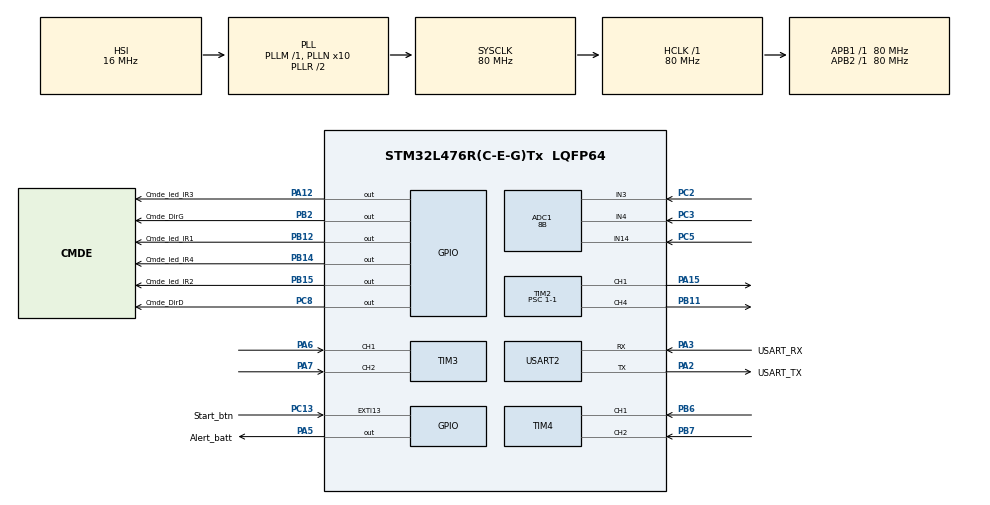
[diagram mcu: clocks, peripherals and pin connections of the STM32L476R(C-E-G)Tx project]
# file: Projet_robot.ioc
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ADC1.AWD1HighThreshold=255
ADC1.AWD1ITMode=ENABLE
ADC1.AWD1LowThreshold=232
ADC1.Channel-6\#ChannelRegularConversion=ADC_CHANNEL_3
ADC1.Channel-7\#ChannelRegularConversion=ADC_CHANNEL_4
ADC1.Channel-8\#ChannelRegularConversion=ADC_CHANNEL_14
ADC1.EnableAnalogWatchDog1=true
ADC1.NbrOfConversion=3
ADC1.NbrOfConversionFlag=1
ADC1.OffsetNumber-6\#ChannelRegularConversion=ADC_OFFSET_NONE
ADC1.OffsetNumber-7\#ChannelRegularConversion=ADC_OFFSET_NONE
ADC1.OffsetNumber-8\#ChannelRegularConversion=ADC_OFFSET_NONE
ADC1.Rank-6\#ChannelRegularConversion=1
ADC1.Rank-7\#ChannelRegularConversion=2
ADC1.Rank-8\#ChannelRegularConversion=3
ADC1.Resolution=ADC_RESOLUTION_8B
ADC1.SamplingTime-6\#ChannelRegularConversion=ADC_SAMPLETIME_640CYCLES_5
ADC1.SamplingTime-7\#ChannelRegularConversion=ADC_SAMPLETIME_640CYCLES_5
ADC1.SamplingTime-8\#ChannelRegularConversion=ADC_SAMPLETIME_640CYCLES_5
ADC1.WatchdogChannel=ADC_CHANNEL_3
ADC1.master=1
Dma.ADC1.0.Direction=DMA_PERIPH_TO_MEMORY
Dma.ADC1.0.Instance=DMA1_Channel1
Dma.ADC1.0.MemDataAlignment=DMA_MDATAALIGN_HALFWORD
Dma.ADC1.0.MemInc=DMA_MINC_ENABLE
Dma.ADC1.0.Mode=DMA_NORMAL
Dma.ADC1.0.PeriphDataAlignment=DMA_PDATAALIGN_HALFWORD
Dma.ADC1.0.PeriphInc=DMA_PINC_DISABLE
Dma.ADC1.0.Priority=DMA_PRIORITY_LOW
Dma.Request0=ADC1
Mcu.Family=STM32L4
Mcu.Name=STM32L476R(C-E-G)Tx
Mcu.Package=LQFP64
NVIC.ADC1_2_IRQn=true\:0\:0\:false\:false\:true\:true\:true\:true
NVIC.DMA1_Channel1_IRQn=true\:0\:0\:false\:false\:true\:false\:true\:true
NVIC.EXTI15_10_IRQn=true\:0\:0\:false\:false\:true\:true\:true\:true
NVIC.PriorityGroup=NVIC_PRIORITYGROUP_4
NVIC.TIM2_IRQn=true\:0\:0\:false\:false\:true\:true\:true\:true
NVIC.TIM6_DAC_IRQn=true\:0\:0\:false\:false\:true\:true\:true\:true
NVIC.USART2_IRQn=true\:0\:0\:false\:false\:true\:true\:true\:true
PA12.GPIO_Label=Cmde_led_IR3
PA12.GPIO_PuPd=GPIO_PULLDOWN
PA12.Signal=GPIO_Output
PA13\ (JTMS-SWDIO).GPIO_Label=TMS
PA13\ (JTMS-SWDIO).Mode=Serial_Wire
PA13\ (JTMS-SWDIO).Signal=SYS_JTMS-SWDIO
PA14\ (JTCK-SWCLK).GPIO_Label=TCK
PA14\ (JTCK-SWCLK).Mode=Serial_Wire
PA14\ (JTCK-SWCLK).Signal=SYS_JTCK-SWCLK
PA15\ (JTDI).Signal=S_TIM2_CH1
PA2.GPIO_Label=USART_TX
PA2.GPIO_Mode=GPIO_MODE_AF_PP
PA2.GPIO_PuPd=GPIO_NOPULL
PA2.GPIO_Speed=GPIO_SPEED_FREQ_VERY_HIGH
PA2.Mode=Asynchronous
PA2.Signal=USART2_TX
PA3.GPIO_Label=USART_RX
PA3.GPIO_Mode=GPIO_MODE_AF_PP
PA3.GPIO_PuPd=GPIO_NOPULL
PA3.GPIO_Speed=GPIO_SPEED_FREQ_VERY_HIGH
PA3.Mode=Asynchronous
PA3.Signal=USART2_RX
PA5.GPIO_Label=Alert_batt
PA5.GPIO_ModeDefaultOutputPP=GPIO_MODE_OUTPUT_PP
PA5.GPIO_PuPd=GPIO_PULLDOWN
PA5.GPIO_Speed=GPIO_SPEED_FREQ_LOW
PA5.Signal=GPIO_Output
PA6.Signal=S_TIM3_CH1
PA7.Signal=S_TIM3_CH2
PB1.Signal=ADCx_IN16
PB11.Signal=S_TIM2_CH4
PB12.GPIO_Label=Cmde_led_IR1
PB12.GPIO_PuPd=GPIO_PULLDOWN
PB12.Signal=GPIO_Output
PB14.GPIO_Label=Cmde_led_IR4
PB14.GPIO_PuPd=GPIO_PULLDOWN
PB14.Signal=GPIO_Output
PB15.GPIO_Label=Cmde_led_IR2
PB15.GPIO_PuPd=GPIO_PULLDOWN
PB15.Signal=GPIO_Output
PB2.GPIO_Label=Cmde_DirG
PB2.GPIO_PuPd=GPIO_PULLDOWN
PB2.Signal=GPIO_Output
PB3\ (JTDO-TRACESWO).GPIO_Label=SWO
PB3\ (JTDO-TRACESWO).Signal=SYS_JTDO-SWO
PB6.Signal=S_TIM4_CH1
PB7.Signal=S_TIM4_CH2
PC13.GPIO_Label=Start_btn
PC13.GPIO_PuPd=GPIO_PULLDOWN
PC13.Signal=GPXTI13
PC14-OSC32_IN\ (PC14).Mode=LSE-External-Oscillator
PC14-OSC32_IN\ (PC14).Signal=RCC_OSC32_IN
PC15-OSC32_OUT\ (PC15).Mode=LSE-External-Oscillator
PC15-OSC32_OUT\ (PC15).Signal=RCC_OSC32_OUT
PC2.Signal=ADCx_IN3
PC3.Signal=ADCx_IN4
PC4.Signal=ADCx_IN13
PC5.Signal=ADCx_IN14
PC8.GPIO_Label=Cmde_DirD
PC8.GPIO_PuPd=GPIO_PULLDOWN
PC8.Signal=GPIO_Output
PH0-OSC_IN\ (PH0).Signal=RCC_OSC_IN
PH1-OSC_OUT\ (PH1).Signal=RCC_OSC_OUT
ProjectManager.HeapSize=0x200
ProjectManager.StackSize=0x400
ProjectManager.TargetToolchain=STM32CubeIDE
RCC.ADCFreq_Value=64000000
RCC.AHBFreq_Value=80000000
RCC.APB1Freq_Value=80000000
RCC.APB1TimFreq_Value=80000000
RCC.APB2Freq_Value=80000000
RCC.APB2TimFreq_Value=80000000
RCC.CortexFreq_Value=80000000
RCC.HCLKFreq_Value=80000000
RCC.HSE_VALUE=8000000
RCC.HSI_VALUE=16000000
RCC.MSI_VALUE=4000000
RCC.PLLN=10
RCC.PLLSourceVirtual=RCC_PLLSOURCE_HSI
RCC.PREFETCH_ENABLE=1
RCC.SYSCLKFreq_VALUE=80000000
RCC.SYSCLKSource=RCC_SYSCLKSOURCE_PLLCLK
RCC.USBFreq_Value=64000000
RCC.VCOOutputFreq_Value=160000000
SH.ADCx_IN13.0=ADC1_IN13
SH.ADCx_IN14.0=ADC1_IN14,IN14-Single-Ended
SH.ADCx_IN16.0=ADC1_IN16
SH.ADCx_IN3.0=ADC1_IN3,IN3-Single-Ended
SH.ADCx_IN4.0=ADC1_IN4,IN4-Single-Ended
SH.S_TIM2_CH1.0=TIM2_CH1,PWM Generation1 CH1
SH.S_TIM2_CH4.0=TIM2_CH4,PWM Generation4 CH4
SH.S_TIM3_CH1.0=TIM3_CH1,Encoder_Interface
SH.S_TIM3_CH2.0=TIM3_CH2,Encoder_Interface
SH.S_TIM4_CH1.0=TIM4_CH1,Encoder_Interface
SH.S_TIM4_CH2.0=TIM4_CH2,Encoder_Interface
TIM2.AutoReloadPreload=TIM_AUTORELOAD_PRELOAD_ENABLE
TIM2.Channel-PWM\ Generation1\ CH1=TIM_CHANNEL_1
TIM2.Channel-PWM\ Generation4\ CH4=TIM_CHANNEL_4
TIM2.Period=80000-1
TIM2.Prescaler=1-1
TIM6.AutoReloadPreload=TIM_AUTORELOAD_PRELOAD_ENABLE
TIM6.Period=61538
TIM6.Prescaler=26-1
USART2.VirtualMode-Asynchronous=VM_ASYNC
VP_TIM2_VS_ClockSourceINT.Mode=Internal
VP_TIM6_VS_ClockSourceINT.Mode=Enable_Timer
board=NUCLEO-L476RG

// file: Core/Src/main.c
/* USER CODE BEGIN Header */
/**
  ******************************************************************************
  * @file           : main.c
  * @brief          : Main program body
  ******************************************************************************
  * @attention
  *
  * Copyright (c) 2024 STMicroelectronics.
  * All rights reserved.
  *
  * This software is licensed under terms that can be found in the LICENSE file
  * in the root directory of this software component.
  * If no LICENSE file comes with this software, it is provided AS-IS.
  *
  ******************************************************************************
  */
/* USER CODE END Header */
#include "main.h"

/* USER CODE BEGIN Includes */
#include <stdio.h>
#include <string.h>

/* USER CODE END Includes */

/* USER CODE BEGIN PD */
#define MAX_VBATT 255 //valeur max sur ADC1 resolution de 12bits
#define SEUIL_VBATT 232 //3V

#define PWM 20661 //10 cm/s  //80000 * 0.25

#define PWM_MOTEUR_DROIT  TIM2->CCR4
#define PWM_MOTEUR_GAUCHE TIM2->CCR1

#define SENS_MOTEUR_DROIT_AVANCE 	HAL_GPIO_WritePin(Cmde_DirD_GPIO_Port, Cmde_DirD_Pin, 1)
#define SENS_MOTEUR_GAUCHE_AVANCE 	HAL_GPIO_WritePin(Cmde_DirG_GPIO_Port, Cmde_DirG_Pin, 1)

#define SENS_MOTEUR_DROIT_RECULE 	HAL_GPIO_WritePin(Cmde_DirD_GPIO_Port, Cmde_DirD_Pin, 0)
#define SENS_MOTEUR_GAUCHE_RECULE 	HAL_GPIO_WritePin(Cmde_DirG_GPIO_Port, Cmde_DirG_Pin, 0)

#define DEMARRAGE_MOTEUR_DROIT 	TIM2->CCR4 = PWM
#define DEMARRAGE_MOTEUR_GAUCHE	TIM2->CCR1 = PWM

#define ARRET_MOTEUR_DROIT 		TIM2->CCR4 = 0
#define ARRET_MOTEUR_GAUCHE 	TIM2->CCR1 = 0

// Coefficient asservissement

#define KP 1.5f
#define KI 0.4f
#define KD 0.2f
#define CONSIGNE_D 300
#define CONSIGNE_G 300
#define PWM_MAX 20661
#define PWM_MIN 0

#define SEUIL_IR 200

/* USER CODE END PD */

ADC_HandleTypeDef hadc1;
DMA_HandleTypeDef hdma_adc1;

TIM_HandleTypeDef htim2;
TIM_HandleTypeDef htim3;
TIM_HandleTypeDef htim4;
TIM_HandleTypeDef htim6;

UART_HandleTypeDef huart2;

/* USER CODE BEGIN PV */
volatile uint8_t mesures_IR = 0; //contient les quatres flags de detection des leds IR
volatile uint8_t nb_conv = 0; //nombre de conversions realisees dans le cycle de conversion de l'ADC
volatile uint8_t flag_blanc = 0;
volatile uint8_t mesure = 0;
volatile uint8_t init = 1;
volatile int blancs[] = {0, 0};
volatile int tbl_detection[] = {0, 0};
volatile int seuils_detection[] = {40, -30};
volatile uint8_t start = 0;
volatile unsigned int Vbatt = MAX_VBATT;

typedef enum {ETEINDRE_LEDS, BLANC, ALLUMER_LEDS, MESURES} etat;
volatile etat etat_courant = BLANC;

extern TIM_HandleTypeDef htim1;   // Timer de commande moteur (PWM)

// asservissement

//static float somme_erreurs = 0;
//static float erreur_precedente = 0;

// DMA
#define NB_ADC_CHANNELS 3
#define CH_IR1 0 // led gauche
#define CH_IR2 1 // led droite
#define CH_VBATT 2 // batterie

uint32_t adc_buffer[NB_ADC_CHANNELS];

/* USER CODE END PV */

void SystemClock_Config(void);
static void MX_GPIO_Init(void);
static void MX_DMA_Init(void);
static void MX_USART2_UART_Init(void);
static void MX_TIM2_Init(void);
static void MX_TIM6_Init(void);
static void MX_ADC1_Init(void);
static void MX_TIM3_Init(void);
static void MX_TIM4_Init(void);
/* USER CODE BEGIN PFP */
void correction_trajectoire(void);
//void read_speed(void);
//void asservissement_PID(void);

/* USER CODE END PFP */

int main(void)
{

  /* MCU Configuration--------------------------------------------------------*/

  /* Reset of all peripherals, Initializes the Flash interface and the Systick. */
  HAL_Init();

  /* Configure the system clock */
  SystemClock_Config();

  /* Initialize all configured peripherals */
  MX_GPIO_Init();
  MX_DMA_Init();
  MX_USART2_UART_Init();
  MX_TIM2_Init();
  MX_TIM6_Init();
  MX_ADC1_Init();
  MX_TIM3_Init();
  MX_TIM4_Init();
  /* USER CODE BEGIN 2 */
  HAL_TIM_Base_Start_IT(&htim6); //demarrage scan des leds toutes les 10ms

  HAL_TIM_PWM_Start(&htim2, TIM_CHANNEL_1); //demarrage pwm moteur Gauche
  HAL_TIM_PWM_Start(&htim2, TIM_CHANNEL_4); //demarrage pwm moteur Droit

  HAL_GPIO_WritePin(Cmde_DirD_GPIO_Port, Cmde_DirD_Pin, 1); // avancer ou reculer ?
  HAL_GPIO_WritePin(Cmde_DirG_GPIO_Port, Cmde_DirG_Pin, 1);

  SENS_MOTEUR_DROIT_AVANCE;
  SENS_MOTEUR_GAUCHE_AVANCE;
  ARRET_MOTEUR_DROIT;
  ARRET_MOTEUR_GAUCHE;

  /* USER CODE END 2 */

  /* Infinite loop */
  /* USER CODE BEGIN WHILE */
  while (1)
  {
//	  HAL_GPIO_WritePin(Cmde_led_IR2_GPIO_Port, Cmde_led_IR2_Pin, 1);
//	  while(1);
//	  read_speed();
//	  HAL_Delay(100);

	  while(!start) {
		  // tant que l'on n'appuie pas sur le bouton de demarrage
		  ARRET_MOTEUR_DROIT;
		  ARRET_MOTEUR_GAUCHE;

	  }

	  //affichage batterie en console
//	  char message[30];
//	  sprintf(message, "Tension de la batterie %d\n", Vbatt);
//	  HAL_UART_Transmit(&huart2, (const uint8_t*)message, sizeof(message), HAL_MAX_DELAY);

	  //avancer tout droit
	  SENS_MOTEUR_DROIT_AVANCE;
	  SENS_MOTEUR_GAUCHE_AVANCE;
	  DEMARRAGE_MOTEUR_DROIT;
	  DEMARRAGE_MOTEUR_GAUCHE;

	  if (mesures_IR) {
		  //arret moteurs

		  //correction de trajectoire
		  correction_trajectoire();
		  //HAL_Delay(100);

		  //remise a zéro des flags leds IR
		  mesures_IR = 0;

	  }

//	  HAL_Delay(100);
//	  mesures_IR = 0;

    /* USER CODE END WHILE */

  }
}

void SystemClock_Config(void)
{
  RCC_OscInitTypeDef RCC_OscInitStruct = {0};
  RCC_ClkInitTypeDef RCC_ClkInitStruct = {0};

  /** Configure the main internal regulator output voltage
  */
  if (HAL_PWREx_ControlVoltageScaling(PWR_REGULATOR_VOLTAGE_SCALE1) != HAL_OK)
  {
    Error_Handler();
  }

  /** Initializes the RCC Oscillators according to the specified parameters
  * in the RCC_OscInitTypeDef structure.
  */
  RCC_OscInitStruct.OscillatorType = RCC_OSCILLATORTYPE_HSI;
  RCC_OscInitStruct.HSIState = RCC_HSI_ON;
  RCC_OscInitStruct.HSICalibrationValue = RCC_HSICALIBRATION_DEFAULT;
  RCC_OscInitStruct.PLL.PLLState = RCC_PLL_ON;
  RCC_OscInitStruct.PLL.PLLSource = RCC_PLLSOURCE_HSI;
  RCC_OscInitStruct.PLL.PLLM = 1;
  RCC_OscInitStruct.PLL.PLLN = 10;
  RCC_OscInitStruct.PLL.PLLP = RCC_PLLP_DIV7;
  RCC_OscInitStruct.PLL.PLLQ = RCC_PLLQ_DIV2;
  RCC_OscInitStruct.PLL.PLLR = RCC_PLLR_DIV2;
  if (HAL_RCC_OscConfig(&RCC_OscInitStruct) != HAL_OK)
  {
    Error_Handler();
  }

  /** Initializes the CPU, AHB and APB buses clocks
  */
  RCC_ClkInitStruct.ClockType = RCC_CLOCKTYPE_HCLK|RCC_CLOCKTYPE_SYSCLK
                              |RCC_CLOCKTYPE_PCLK1|RCC_CLOCKTYPE_PCLK2;
  RCC_ClkInitStruct.SYSCLKSource = RCC_SYSCLKSOURCE_PLLCLK;
  RCC_ClkInitStruct.AHBCLKDivider = RCC_SYSCLK_DIV1;
  RCC_ClkInitStruct.APB1CLKDivider = RCC_HCLK_DIV1;
  RCC_ClkInitStruct.APB2CLKDivider = RCC_HCLK_DIV1;

  if (HAL_RCC_ClockConfig(&RCC_ClkInitStruct, FLASH_LATENCY_4) != HAL_OK)
  {
    Error_Handler();
  }
}

static void MX_ADC1_Init(void)
{

  ADC_MultiModeTypeDef multimode = {0};
  ADC_AnalogWDGConfTypeDef AnalogWDGConfig = {0};
  ADC_ChannelConfTypeDef sConfig = {0};

  /** Common config
  */
  hadc1.Instance = ADC1;
  hadc1.Init.ClockPrescaler = ADC_CLOCK_ASYNC_DIV1;
  hadc1.Init.Resolution = ADC_RESOLUTION_8B;
  hadc1.Init.DataAlign = ADC_DATAALIGN_RIGHT;
  hadc1.Init.ScanConvMode = ADC_SCAN_ENABLE;
  hadc1.Init.EOCSelection = ADC_EOC_SINGLE_CONV;
  hadc1.Init.LowPowerAutoWait = DISABLE;
  hadc1.Init.ContinuousConvMode = DISABLE;
  hadc1.Init.NbrOfConversion = 3;
  hadc1.Init.DiscontinuousConvMode = DISABLE;
  hadc1.Init.ExternalTrigConv = ADC_SOFTWARE_START;
  hadc1.Init.ExternalTrigConvEdge = ADC_EXTERNALTRIGCONVEDGE_NONE;
  hadc1.Init.DMAContinuousRequests = DISABLE;
  hadc1.Init.Overrun = ADC_OVR_DATA_PRESERVED;
  hadc1.Init.OversamplingMode = DISABLE;
  if (HAL_ADC_Init(&hadc1) != HAL_OK)
  {
    Error_Handler();
  }

  /** Configure the ADC multi-mode
  */
  multimode.Mode = ADC_MODE_INDEPENDENT;
  if (HAL_ADCEx_MultiModeConfigChannel(&hadc1, &multimode) != HAL_OK)
  {
    Error_Handler();
  }

  /** Configure Analog WatchDog 1
  */
  AnalogWDGConfig.WatchdogNumber = ADC_ANALOGWATCHDOG_1;
  AnalogWDGConfig.WatchdogMode = ADC_ANALOGWATCHDOG_SINGLE_REG;
  AnalogWDGConfig.Channel = ADC_CHANNEL_3;
  AnalogWDGConfig.ITMode = ENABLE;
  AnalogWDGConfig.HighThreshold = 255;
  AnalogWDGConfig.LowThreshold = 232;
  if (HAL_ADC_AnalogWDGConfig(&hadc1, &AnalogWDGConfig) != HAL_OK)
  {
    Error_Handler();
  }

  /** Configure Regular Channel
  */
  sConfig.Channel = ADC_CHANNEL_3;
  sConfig.Rank = ADC_REGULAR_RANK_1;
  sConfig.SamplingTime = ADC_SAMPLETIME_640CYCLES_5;
  sConfig.SingleDiff = ADC_SINGLE_ENDED;
  sConfig.OffsetNumber = ADC_OFFSET_NONE;
  sConfig.Offset = 0;
  if (HAL_ADC_ConfigChannel(&hadc1, &sConfig) != HAL_OK)
  {
    Error_Handler();
  }

  /** Configure Regular Channel
  */
  sConfig.Channel = ADC_CHANNEL_4;
  sConfig.Rank = ADC_REGULAR_RANK_2;
  if (HAL_ADC_ConfigChannel(&hadc1, &sConfig) != HAL_OK)
  {
    Error_Handler();
  }

  /** Configure Regular Channel
  */
  sConfig.Channel = ADC_CHANNEL_14;
  sConfig.Rank = ADC_REGULAR_RANK_3;
  if (HAL_ADC_ConfigChannel(&hadc1, &sConfig) != HAL_OK)
  {
    Error_Handler();
  }

}

static void MX_TIM2_Init(void)
{

  TIM_ClockConfigTypeDef sClockSourceConfig = {0};
  TIM_MasterConfigTypeDef sMasterConfig = {0};
  TIM_OC_InitTypeDef sConfigOC = {0};

  htim2.Instance = TIM2;
  htim2.Init.Prescaler = 1-1;
  htim2.Init.CounterMode = TIM_COUNTERMODE_UP;
  htim2.Init.Period = 80000-1;
  htim2.Init.ClockDivision = TIM_CLOCKDIVISION_DIV1;
  htim2.Init.AutoReloadPreload = TIM_AUTORELOAD_PRELOAD_ENABLE;
  if (HAL_TIM_Base_Init(&htim2) != HAL_OK)
  {
    Error_Handler();
  }
  sClockSourceConfig.ClockSource = TIM_CLOCKSOURCE_INTERNAL;
  if (HAL_TIM_ConfigClockSource(&htim2, &sClockSourceConfig) != HAL_OK)
  {
    Error_Handler();
  }
  if (HAL_TIM_PWM_Init(&htim2) != HAL_OK)
  {
    Error_Handler();
  }
  sMasterConfig.MasterOutputTrigger = TIM_TRGO_RESET;
  sMasterConfig.MasterSlaveMode = TIM_MASTERSLAVEMODE_DISABLE;
  if (HAL_TIMEx_MasterConfigSynchronization(&htim2, &sMasterConfig) != HAL_OK)
  {
    Error_Handler();
  }
  sConfigOC.OCMode = TIM_OCMODE_PWM1;
  sConfigOC.Pulse = 0;
  sConfigOC.OCPolarity = TIM_OCPOLARITY_HIGH;
  sConfigOC.OCFastMode = TIM_OCFAST_DISABLE;
  if (HAL_TIM_PWM_ConfigChannel(&htim2, &sConfigOC, TIM_CHANNEL_1) != HAL_OK)
  {
    Error_Handler();
  }
  if (HAL_TIM_PWM_ConfigChannel(&htim2, &sConfigOC, TIM_CHANNEL_4) != HAL_OK)
  {
    Error_Handler();
  }
  HAL_TIM_MspPostInit(&htim2);

}

static void MX_TIM3_Init(void)
{

  TIM_Encoder_InitTypeDef sConfig = {0};
  TIM_MasterConfigTypeDef sMasterConfig = {0};

  htim3.Instance = TIM3;
  htim3.Init.Prescaler = 0;
  htim3.Init.CounterMode = TIM_COUNTERMODE_UP;
  htim3.Init.Period = 65535;
  htim3.Init.ClockDivision = TIM_CLOCKDIVISION_DIV1;
  htim3.Init.AutoReloadPreload = TIM_AUTORELOAD_PRELOAD_DISABLE;
  sConfig.EncoderMode = TIM_ENCODERMODE_TI1;
  sConfig.IC1Polarity = TIM_ICPOLARITY_RISING;
  sConfig.IC1Selection = TIM_ICSELECTION_DIRECTTI;
  sConfig.IC1Prescaler = TIM_ICPSC_DIV1;
  sConfig.IC1Filter = 0;
  sConfig.IC2Polarity = TIM_ICPOLARITY_RISING;
  sConfig.IC2Selection = TIM_ICSELECTION_DIRECTTI;
  sConfig.IC2Prescaler = TIM_ICPSC_DIV1;
  sConfig.IC2Filter = 0;
  if (HAL_TIM_Encoder_Init(&htim3, &sConfig) != HAL_OK)
  {
    Error_Handler();
  }
  sMasterConfig.MasterOutputTrigger = TIM_TRGO_RESET;
  sMasterConfig.MasterSlaveMode = TIM_MASTERSLAVEMODE_DISABLE;
  if (HAL_TIMEx_MasterConfigSynchronization(&htim3, &sMasterConfig) != HAL_OK)
  {
    Error_Handler();
  }

}

static void MX_TIM4_Init(void)
{

  TIM_Encoder_InitTypeDef sConfig = {0};
  TIM_MasterConfigTypeDef sMasterConfig = {0};

  htim4.Instance = TIM4;
  htim4.Init.Prescaler = 0;
  htim4.Init.CounterMode = TIM_COUNTERMODE_UP;
  htim4.Init.Period = 65535;
  htim4.Init.ClockDivision = TIM_CLOCKDIVISION_DIV1;
  htim4.Init.AutoReloadPreload = TIM_AUTORELOAD_PRELOAD_DISABLE;
  sConfig.EncoderMode = TIM_ENCODERMODE_TI1;
  sConfig.IC1Polarity = TIM_ICPOLARITY_RISING;
  sConfig.IC1Selection = TIM_ICSELECTION_DIRECTTI;
  sConfig.IC1Prescaler = TIM_ICPSC_DIV1;
  sConfig.IC1Filter = 0;
  sConfig.IC2Polarity = TIM_ICPOLARITY_RISING;
  sConfig.IC2Selection = TIM_ICSELECTION_DIRECTTI;
  sConfig.IC2Prescaler = TIM_ICPSC_DIV1;
  sConfig.IC2Filter = 0;
  if (HAL_TIM_Encoder_Init(&htim4, &sConfig) != HAL_OK)
  {
    Error_Handler();
  }
  sMasterConfig.MasterOutputTrigger = TIM_TRGO_RESET;
  sMasterConfig.MasterSlaveMode = TIM_MASTERSLAVEMODE_DISABLE;
  if (HAL_TIMEx_MasterConfigSynchronization(&htim4, &sMasterConfig) != HAL_OK)
  {
    Error_Handler();
  }

}

static void MX_TIM6_Init(void)
{

  TIM_MasterConfigTypeDef sMasterConfig = {0};

  htim6.Instance = TIM6;
  htim6.Init.Prescaler = 13-1;
  htim6.Init.CounterMode = TIM_COUNTERMODE_UP;
  htim6.Init.Period = 61538;
  htim6.Init.AutoReloadPreload = TIM_AUTORELOAD_PRELOAD_ENABLE;
  if (HAL_TIM_Base_Init(&htim6) != HAL_OK)
  {
    Error_Handler();
  }
  sMasterConfig.MasterOutputTrigger = TIM_TRGO_RESET;
  sMasterConfig.MasterSlaveMode = TIM_MASTERSLAVEMODE_DISABLE;
  if (HAL_TIMEx_MasterConfigSynchronization(&htim6, &sMasterConfig) != HAL_OK)
  {
    Error_Handler();
  }

}

static void MX_USART2_UART_Init(void)
{

  huart2.Instance = USART2;
  huart2.Init.BaudRate = 115200;
  huart2.Init.WordLength = UART_WORDLENGTH_8B;
  huart2.Init.StopBits = UART_STOPBITS_1;
  huart2.Init.Parity = UART_PARITY_NONE;
  huart2.Init.Mode = UART_MODE_TX_RX;
  huart2.Init.HwFlowCtl = UART_HWCONTROL_NONE;
  huart2.Init.OverSampling = UART_OVERSAMPLING_16;
  huart2.Init.OneBitSampling = UART_ONE_BIT_SAMPLE_DISABLE;
  huart2.AdvancedInit.AdvFeatureInit = UART_ADVFEATURE_NO_INIT;
  if (HAL_UART_Init(&huart2) != HAL_OK)
  {
    Error_Handler();
  }

}

static void MX_DMA_Init(void)
{

  /* DMA controller clock enable */
  __HAL_RCC_DMA1_CLK_ENABLE();

  /* DMA interrupt init */
  /* DMA1_Channel1_IRQn interrupt configuration */
  HAL_NVIC_SetPriority(DMA1_Channel1_IRQn, 0, 0);
  HAL_NVIC_EnableIRQ(DMA1_Channel1_IRQn);

}

static void MX_GPIO_Init(void)
{
  GPIO_InitTypeDef GPIO_InitStruct = {0};

  /* GPIO Ports Clock Enable */
  __HAL_RCC_GPIOC_CLK_ENABLE();
  __HAL_RCC_GPIOH_CLK_ENABLE();
  __HAL_RCC_GPIOA_CLK_ENABLE();
  __HAL_RCC_GPIOB_CLK_ENABLE();

  /*Configure GPIO pin Output Level */
  HAL_GPIO_WritePin(GPIOA, Alert_batt_Pin|Cmde_led_IR3_Pin, GPIO_PIN_RESET);

  /*Configure GPIO pin Output Level */
  HAL_GPIO_WritePin(GPIOB, Cmde_DirG_Pin|Cmde_led_IR1_Pin|Cmde_led_IR4_Pin|Cmde_led_IR2_Pin, GPIO_PIN_RESET);

  /*Configure GPIO pin Output Level */
  HAL_GPIO_WritePin(Cmde_DirD_GPIO_Port, Cmde_DirD_Pin, GPIO_PIN_RESET);

  /*Configure GPIO pin : Start_btn_Pin */
  GPIO_InitStruct.Pin = Start_btn_Pin;
  GPIO_InitStruct.Mode = GPIO_MODE_IT_RISING;
  GPIO_InitStruct.Pull = GPIO_PULLDOWN;
  HAL_GPIO_Init(Start_btn_GPIO_Port, &GPIO_InitStruct);

  /*Configure GPIO pins : Alert_batt_Pin Cmde_led_IR3_Pin */
  GPIO_InitStruct.Pin = Alert_batt_Pin|Cmde_led_IR3_Pin;
  GPIO_InitStruct.Mode = GPIO_MODE_OUTPUT_PP;
  GPIO_InitStruct.Pull = GPIO_PULLDOWN;
  GPIO_InitStruct.Speed = GPIO_SPEED_FREQ_LOW;
  HAL_GPIO_Init(GPIOA, &GPIO_InitStruct);

  /*Configure GPIO pins : Cmde_DirG_Pin Cmde_led_IR1_Pin Cmde_led_IR4_Pin Cmde_led_IR2_Pin */
  GPIO_InitStruct.Pin = Cmde_DirG_Pin|Cmde_led_IR1_Pin|Cmde_led_IR4_Pin|Cmde_led_IR2_Pin;
  GPIO_InitStruct.Mode = GPIO_MODE_OUTPUT_PP;
  GPIO_InitStruct.Pull = GPIO_PULLDOWN;
  GPIO_InitStruct.Speed = GPIO_SPEED_FREQ_LOW;
  HAL_GPIO_Init(GPIOB, &GPIO_InitStruct);

  /*Configure GPIO pin : Cmde_DirD_Pin */
  GPIO_InitStruct.Pin = Cmde_DirD_Pin;
  GPIO_InitStruct.Mode = GPIO_MODE_OUTPUT_PP;
  GPIO_InitStruct.Pull = GPIO_PULLDOWN;
  GPIO_InitStruct.Speed = GPIO_SPEED_FREQ_LOW;
  HAL_GPIO_Init(Cmde_DirD_GPIO_Port, &GPIO_InitStruct);

  /* EXTI interrupt init*/
  HAL_NVIC_SetPriority(EXTI15_10_IRQn, 0, 0);
  HAL_NVIC_EnableIRQ(EXTI15_10_IRQn);

}

/* USER CODE BEGIN 4 */

// Fonction boutton anti-rebond
void HAL_GPIO_EXTI_Callback(uint16_t GPIO_Pin)
{
    static uint32_t dernier_appui = 0;

    if (GPIO_Pin == Start_btn_Pin)
    {
        // Anti-rebond logiciel : 200 ms de délai minimum
        if (HAL_GetTick() - dernier_appui > 200)
        {
            start ^= 1;  // inverse le flag start
            dernier_appui = HAL_GetTick(); // met à jour le moment de l'appui
        }
    }
}

void HAL_TIM_PeriodElapsedCallback(TIM_HandleTypeDef *htim) {
	if (htim == &htim6) {
		//callback machine d'etat
		switch (etat_courant) {

			case ETEINDRE_LEDS:
				HAL_GPIO_WritePin(Cmde_led_IR1_GPIO_Port, Cmde_led_IR1_Pin, 0);
				HAL_GPIO_WritePin(Cmde_led_IR2_GPIO_Port, Cmde_led_IR2_Pin, 0);

				etat_courant = BLANC;
				break;

			case BLANC:
			    flag_blanc = 1;
			    HAL_ADC_Start_DMA(&hadc1, adc_buffer, NB_ADC_CHANNELS);
			    etat_courant = ALLUMER_LEDS;
			    break;

			case ALLUMER_LEDS:
				HAL_GPIO_WritePin(Cmde_led_IR1_GPIO_Port, Cmde_led_IR1_Pin, 1);
				HAL_GPIO_WritePin(Cmde_led_IR2_GPIO_Port, Cmde_led_IR2_Pin, 1);
				// laisser le temps de s'allumer
				etat_courant = MESURES;
				break;

			case MESURES:
			    flag_blanc = 0;
			    HAL_ADC_Start_DMA(&hadc1, adc_buffer, NB_ADC_CHANNELS);
			    etat_courant = ETEINDRE_LEDS;
			    break;

			default:
				etat_courant = ETEINDRE_LEDS;
				break;
		}
	}
}

//gestion des mesures
void HAL_ADC_ConvCpltCallback(ADC_HandleTypeDef *hadc)
{
    if (hadc == &hadc1)
    {
    	for (int i = 0; i < 2; i++)
    	{
    	    uint8_t adc_val = (uint8_t)adc_buffer[i]; // cast clair à 8 bits

    	    if (flag_blanc) {
    	        blancs[i] = adc_val;
    	    } else {
    	        int diff = (int)adc_val - blancs[i];
    	        tbl_detection[i] = diff;

    	        char buffer[64];
    	        int len = sprintf(buffer, "LED num %d, Blanc : %d, Mesure : %d, Detection %d\n",
    	                          i,blancs[i], adc_val, diff);
    	        HAL_UART_Transmit(&huart2, (uint8_t*)buffer, len, HAL_MAX_DELAY);

    	        if (diff > seuils_detection[i]) {
    	            mesures_IR |= 1 << i;
    	        }
    	    }
    	}

    }
}

// fonction de correction de trajectoire
void correction_trajectoire(void) {
	switch (mesures_IR) {
		case 0b00000010:

			ARRET_MOTEUR_DROIT;
			ARRET_MOTEUR_GAUCHE;

			// tourne a droite

			SENS_MOTEUR_DROIT_RECULE;
			SENS_MOTEUR_GAUCHE_AVANCE;

			DEMARRAGE_MOTEUR_DROIT;
			DEMARRAGE_MOTEUR_GAUCHE;

			HAL_Delay(200);

			ARRET_MOTEUR_DROIT;
			ARRET_MOTEUR_GAUCHE;

			break;

		case 0b00000001:
			ARRET_MOTEUR_DROIT;
			ARRET_MOTEUR_GAUCHE;

			// tourne a gauche
			SENS_MOTEUR_DROIT_AVANCE;
			SENS_MOTEUR_GAUCHE_RECULE;

			DEMARRAGE_MOTEUR_DROIT;
			DEMARRAGE_MOTEUR_GAUCHE;

			HAL_Delay(200);

			ARRET_MOTEUR_DROIT;
			ARRET_MOTEUR_GAUCHE;

			break;

		default:
			//HAL_Delay(1000);
			break;
	}
}

//void read_speed(void) {
//    static int32_t last_encoder_count_d = 0;
//    static int32_t last_encoder_count_g = 0;
//    char buffer[80];
//    int32_t current_d = __HAL_TIM_GET_COUNTER(&htim3);
//    int32_t current_g = __HAL_TIM_GET_COUNTER(&htim4);
//
//    *speed_d = current_d - last_encoder_count_d;
//    *speed_g = current_g - last_encoder_count_g;
//
//
//    // overflow
//
//    if (*speed_d > 32767) *speed_d -= 65536;
//    if (*speed_d < -32768) *speed_d += 65536;
//    if (*speed_g > 32767) *speed_g -= 65536;
//    if (*speed_g < -32768) *speed_g += 65536;
//
//    last_encoder_count_d = current_d;
//    last_encoder_count_g = current_g;
//
//    // Transmission UART
//    sprintf(buffer, "Speed moteur droit : %ld\r\n, Speed moteur gauche : %ld\r\n", speed_d, speed_g);
//    HAL_UART_Transmit(&huart2, (uint8_t*)buffer, strlen(buffer), HAL_MAX_DELAY);
//}
//
//
//void asservissement_double_PID(void) {
//    int32_t speed_d, speed_g;
//    read_speed(&speed_d, &speed_g);  // récupère les vitesses des 2 moteurs
//
//    // --- Moteur droit ---
//    float erreur_d = CONSIGNE_D - speed_d;
//    erreur_i_d += erreur_d;
//    float delta_e_d = erreur_d - erreur_precedente_d;
//    float cmd_d = KP * erreur_d + KI * erreur_i_d + KD * delta_e_d;
//    if (cmd_d > PWM_MAX) cmd_d = PWM_MAX;
//    if (cmd_d < PWM_MIN) cmd_d = PWM_MIN;
//    __HAL_TIM_SET_COMPARE(&htim2, TIM_CHANNEL_1, (uint32_t)cmd_d);
//    erreur_precedente_d = erreur_d;
//
//    // --- Moteur gauche ---
//    float erreur_g = CONSIGNE_G - speed_g;
//    erreur_i_g += erreur_g;
//    float delta_e_g = erreur_g - erreur_precedente_g;
//    float cmd_g = KP * erreur_g + KI * erreur_i_g + KD * delta_e_g;
//    if (cmd_g > PWM_MAX) cmd_g = PWM_MAX;
//    if (cmd_g < PWM_MIN) cmd_g = PWM_MIN;
//    __HAL_TIM_SET_COMPARE(&htim2, TIM_CHANNEL_4, (uint32_t)cmd_g);
//    erreur_precedente_g = erreur_g;
//}

/* USER CODE END 4 */

void Error_Handler(void)
{
  __disable_irq();
  while (1)
  {
  }
}
